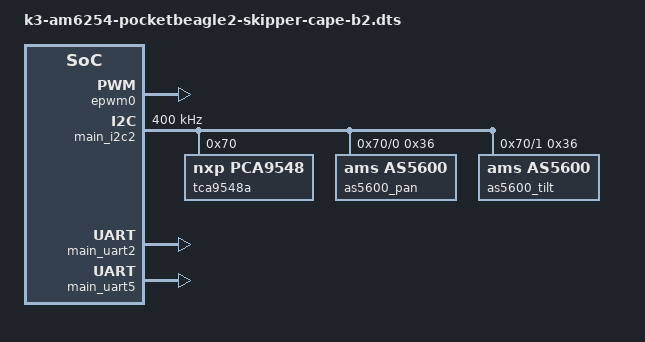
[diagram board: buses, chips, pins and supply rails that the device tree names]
// SPDX-License-Identifier: CC-BY-4.0
/*
 * k3-am6254-pocketbeagle2-skipper-cape-b2.dts
 * Device tree overlay — Skipper GCS Cape-B-2 (same hardware as aircraft XO,
 * different operational role: no cargo, no flight-data log, gimbal servo outputs)
 *
 * Author:  Steve Griffing, PE(CSE), CISSP-ISSEP, CPP
 * License: CC BY 4.0 — creativecommons.org/licenses/by/4.0
 * Revision: Q1 (2026-06-10)
 *
 * Target:
 *   Board  : PocketBeagle 2 Industrial (DigiKey 2820-100003007-ND)
 *   SoC    : TI AM6254 (quad Cortex-A53 @ 1.4 GHz, dual PRU-ICSS)
 *   OS     : BeagleBone Debian Trixie (Linux >= 6.1, dtc 1.7.x)
 *   Cape   : Cape-B-2 — EMI-hardened comms + logging cape (same gerbers as aircraft)
 *
 * Build:
 *   dtc -@ -I dts -O dtb \
 *       -o k3-am6254-pocketbeagle2-skipper-cape-b2.dtbo \
 *       k3-am6254-pocketbeagle2-skipper-cape-b2.dts
 *
 * Install:
 *   sudo cp *.dtbo /boot/firmware/overlays/
 *   Add "fdtoverlays /overlays/k3-am6254-pocketbeagle2-skipper-cape-b2.dtbo"
 *   to /boot/firmware/extlinux/extlinux.conf
 *
 * Skipper-specific peripheral map (differences from aircraft Cape-B-2 overlay):
 *   EHRPWM0_A (P1.33) — Pan gimbal servo PWM output (instead of cargo servo)
 *   EHRPWM0_B (P1.36) — Tilt gimbal servo PWM output
 *   I2C2               — TCA9548A mux + 2x AS5600 encoder (instead of ToF mux)
 *   UART5              — XCVR-49MHZ-2 (same as aircraft)
 *   UART2              — SiK 915 MHz (same as aircraft)
 *   SPI1               — RFM95W LoRa + TPM + log uSD (same as aircraft)
 *   MCAN0              — CAN FD (same as aircraft, but Skipper is not in ring)
 *
 * Pad offset verification: same requirements as aircraft Cape-B-2 overlay.
 * See k3-am6254-pocketbeagle2-serenity-cape-b2.dts for detailed pad notes.
 */

/dts-v1/;
/plugin/;

#include <dt-bindings/gpio/gpio.h>
#include <dt-bindings/pinctrl/k3.h>

&{/chosen} {
    overlays {
        skipper-cape-b2 = __TIMESTAMP__;
    };
};

&main_pmx0 {
    /*
     * EHRPWM0 — pan and tilt gimbal servo PWM outputs
     * [ESTIMATE] Offsets follow AM62x pad-table pattern; verify vs. TRM SPRUJ40.
     */
    skipper_gimbal_pwm_pins: skipper-gimbal-pwm-pins {
        pinctrl-single,pins = <
            AM62X_IOPAD(0x01B4, PIN_OUTPUT, 6)   /* EHRPWM0_A — pan servo */
            AM62X_IOPAD(0x01B8, PIN_OUTPUT, 6)   /* EHRPWM0_B — tilt servo */
        >;
    };

    /*
     * I2C2 — TCA9548A mux + AS5600 encoders
     * [ESTIMATE] Offsets follow AM62x pad-table pattern.
     */
    skipper_i2c2_pins: skipper-i2c2-pins {
        pinctrl-single,pins = <
            AM62X_IOPAD(0x01E0, PIN_INPUT_PULLUP, 0)   /* I2C2_SCL */
            AM62X_IOPAD(0x01E4, PIN_INPUT_PULLUP, 0)   /* I2C2_SDA */
        >;
    };

    /*
     * UART2 — SiK 915 MHz (hardware CTS/RTS)
     * [CONFIRMED] Same as aircraft overlay.
     */
    skipper_sik_uart_pins: skipper-sik-uart-pins {
        pinctrl-single,pins = <
            AM62X_IOPAD(0x001C, PIN_INPUT,  4)   /* UART2_RXD */
            AM62X_IOPAD(0x0018, PIN_OUTPUT, 4)   /* UART2_TXD */
            AM62X_IOPAD(0x0024, PIN_INPUT,  4)   /* UART2_CTSn */
            AM62X_IOPAD(0x0020, PIN_OUTPUT, 4)   /* UART2_RTSn */
        >;
    };

    /*
     * UART5 — XCVR-49MHZ-2 AX.25
     * [ESTIMATE] Offsets follow AM62x pad-table pattern.
     */
    skipper_xcvr_49mhz_uart_pins: skipper-xcvr-49mhz-uart-pins {
        pinctrl-single,pins = <
            AM62X_IOPAD(0x006C, PIN_INPUT,  3)   /* UART5_RXD */
            AM62X_IOPAD(0x0068, PIN_OUTPUT, 3)   /* UART5_TXD */
        >;
    };
};

/* ---------------------------------------------------------------------------
 * EHRPWM0 — gimbal servo outputs
 * ---------------------------------------------------------------------------*/
&epwm0 {
    status = "okay";
    pinctrl-names = "default";
    pinctrl-0 = <&skipper_gimbal_pwm_pins>;
};

/* ---------------------------------------------------------------------------
 * I2C2 — TCA9548A + AS5600 encoders
 * ---------------------------------------------------------------------------*/
&main_i2c2 {
    status = "okay";
    pinctrl-names = "default";
    pinctrl-0 = <&skipper_i2c2_pins>;
    clock-frequency = <400000>;  /* 400 kHz Fast Mode */

    /*
     * TCA9548A 8-channel I2C multiplexer
     * A0=A1=A2=GND → address 0x70
     * Channel 0: pan AS5600 (0x36)
     * Channel 1: tilt AS5600 (0x36)
     */
    tca9548a@70 {
        compatible = "nxp,pca9548";
        reg = <0x70>;
        #address-cells = <1>;
        #size-cells = <0>;

        i2c@0 {
            /* Pan encoder */
            #address-cells = <1>;
            #size-cells = <0>;
            reg = <0>;

            as5600_pan: as5600@36 {
                compatible = "ams,as5600";
                reg = <0x36>;
            };
        };

        i2c@1 {
            /* Tilt encoder */
            #address-cells = <1>;
            #size-cells = <0>;
            reg = <1>;

            as5600_tilt: as5600@36 {
                compatible = "ams,as5600";
                reg = <0x36>;
            };
        };
    };
};

/* ---------------------------------------------------------------------------
 * UART2 — SiK 915 MHz
 * ---------------------------------------------------------------------------*/
&main_uart2 {
    status = "okay";
    pinctrl-names = "default";
    pinctrl-0 = <&skipper_sik_uart_pins>;
};

/* ---------------------------------------------------------------------------
 * UART5 — XCVR-49MHZ-2
 * ---------------------------------------------------------------------------*/
&main_uart5 {
    status = "okay";
    pinctrl-names = "default";
    pinctrl-0 = <&skipper_xcvr_49mhz_uart_pins>;
};
